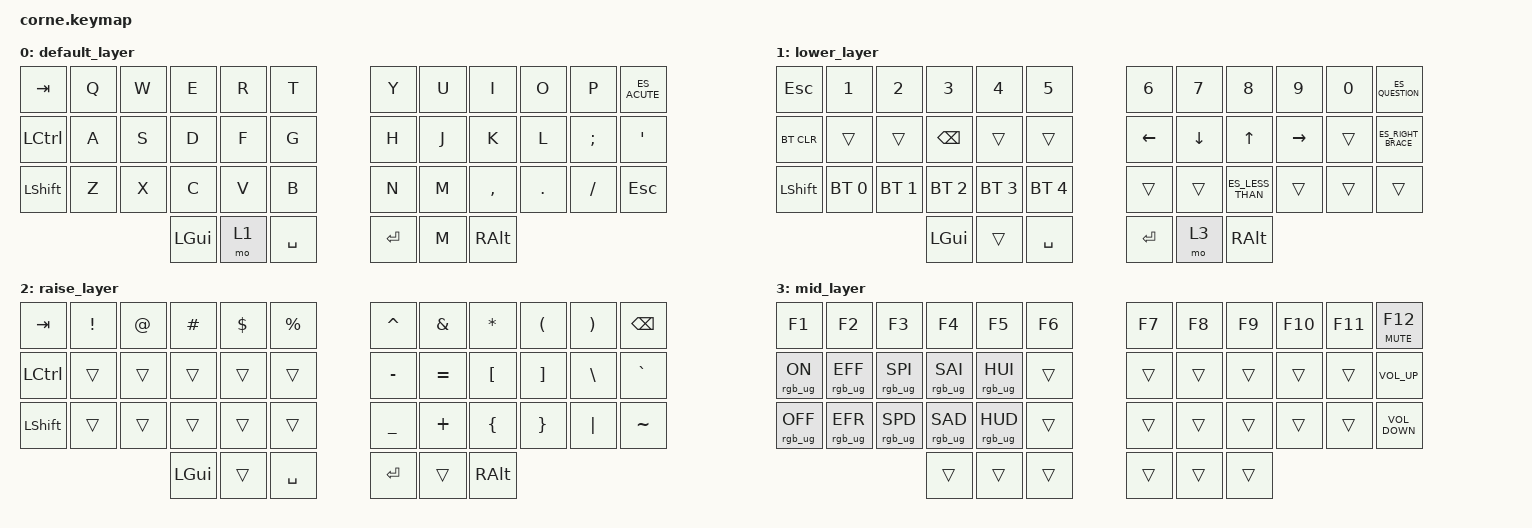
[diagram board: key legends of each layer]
/*
 * Copyright (c) 2020 The ZMK Contributors
 *
 * SPDX-License-Identifier: MIT
 */

#include <behaviors.dtsi>
#include <dt-bindings/zmk/keys.h>
#include <dt-bindings/zmk/bt.h>
#include <dt-bindings/zmk/rgb.h>
#include <dt-bindings/led/led.h>
#include "keys_es_latin_american.h"

/ {
        keymap {
                compatible = "zmk,keymap";

                default_layer {
// -----------------------------------------------------------------------------------------
// |  TAB |  Q  |  W  |  E  |  R  |  T  |   |  Y  |  U   |  I  |  O  |  P  | BKSP |
// | CTRL |  A  |  S  |  D  |  F  |  G  |   |  H  |  J   |  K  |  L  |  ;  |  '   |
// | SHFT |  Z  |  X  |  C  |  V  |  B  |   |  N  |  M   |  ,  |  .  |  /  | ESC  |
//                    | GUI | LWR | SPC |   | ENT | RSE  | ALT |
                        bindings = <
   &kp TAB   &kp Q &kp W &kp E &kp R &kp T   &kp Y &kp U  &kp I     &kp O   &kp P    &kp ES_ACUTE
   &kp LCTRL &kp A &kp S &kp D &kp F &kp G   &kp H &kp J  &kp K     &kp L   &kp SEMI &kp SQT
   &kp LSHFT &kp Z &kp X &kp C &kp V &kp B   &kp N &kp M  &kp COMMA &kp DOT &kp FSLH &kp ESC
                  &kp LGUI &mo 1 &kp SPACE   &kp RET &kp M &kp RALT
                        >;
                };
                lower_layer {
// -----------------------------------------------------------------------------------------
// |  TAB |  1  |  2  |  3  |  4  |  5  |   |  6  |  7  |  8  |  9  |  0  | BKSP |
// | BTCLR| BT1 | BT2 | BT3 | BT4 | BT5 |   | LFT | DWN |  UP | RGT |     |      |
// | SHFT |     |     |     |     |     |   |     |     |     |     |     |      |
//                    | GUI |     | SPC |   | ENT |     | ALT |
                        bindings = <
   &kp ESC    &kp N1       &kp N2       &kp N3       &kp N4       &kp N5         &kp N6   &kp N7    &kp N8              &kp N9     &kp N0  &kp ES_QUESTION
   &bt BT_CLR &trans       &trans       &kp BSPC     &trans       &trans         &kp LEFT &kp DOWN  &kp UP              &kp RIGHT  &trans  &kp ES_RIGHT_BRACE
   &kp LSHFT  &bt BT_SEL 0 &bt BT_SEL 1 &bt BT_SEL 2 &bt BT_SEL 3 &bt BT_SEL 4   &trans   &trans    &kp ES_LESS_THAN    &trans     &trans  &trans
                                        &kp LGUI     &trans       &kp SPACE      &kp RET  &mo 3     &kp RALT
                        >;
                };

                raise_layer {
// -----------------------------------------------------------------------------------------
// |  TAB |  !  |  @  |  #  |  $  |  %  |   |  ^  |  &  |  *  |  (  |  )  | BKSP |
// | CTRL |     |     |     |     |     |   |  -  |  =  |  [  |  ]  |  \  |  `   |
// | SHFT |     |     |     |     |     |   |  _  |  +  |  {  |  }  | "|" |  ~   |
//                    | GUI |     | SPC |   | ENT |     | ALT |
                        bindings = <
   &kp  TAB  &kp EXCL &kp AT &kp HASH &kp DLLR &kp PRCNT   &kp CARET &kp AMPS  &kp ASTRK &kp LPAR &kp RPAR &kp BSPC
   &kp LCTRL &trans   &trans &trans   &trans   &trans      &kp MINUS &kp EQUAL &kp LBKT  &kp RBKT &kp BSLH &kp GRAVE
   &kp LSHFT &trans   &trans &trans   &trans   &trans      &kp UNDER &kp PLUS  &kp LBRC  &kp RBRC &kp PIPE &kp TILDE
                             &kp LGUI &trans   &kp SPACE   &kp RET   &trans    &kp RALT
                        >;
                };
                
                mid_layer {
        // -----------------------------------------------------------------------------------------
        // |  F1  |  F2  |  F3  |  F4  |  F5  |  F6  |      |  F7  |  F8  |  F9  |  F10  |  F11  |  F12  |
        // |    |    |    |    |    |    |      |    |    |    |    |    |    |
        // |    |    |    |    |    |    |      |    |    |    |    |    |    |
        //                |    |    |    |      |    |    |    |
                        bindings = <
   &kp F1           &kp F2           &kp F3           &kp F4           &kp F5           &kp F6           &kp F7  &kp F8  &kp F9  &kp F10  &kp F11  &mt K_MUTE F12
   &rgb_ug RGB_ON   &rgb_ug RGB_EFF  &rgb_ug RGB_SPI  &rgb_ug RGB_SAI  &rgb_ug RGB_HUI  &trans           &trans  &trans  &trans  &trans   &trans   &kp C_VOLUME_UP
   &rgb_ug RGB_OFF  &rgb_ug RGB_EFR  &rgb_ug RGB_SPD  &rgb_ug RGB_SAD  &rgb_ug RGB_HUD  &trans           &trans  &trans  &trans  &trans   &trans   &kp C_VOLUME_DOWN
                                                      &trans           &trans           &trans           &trans  &trans  &trans
                        >;
                };
        };
};
